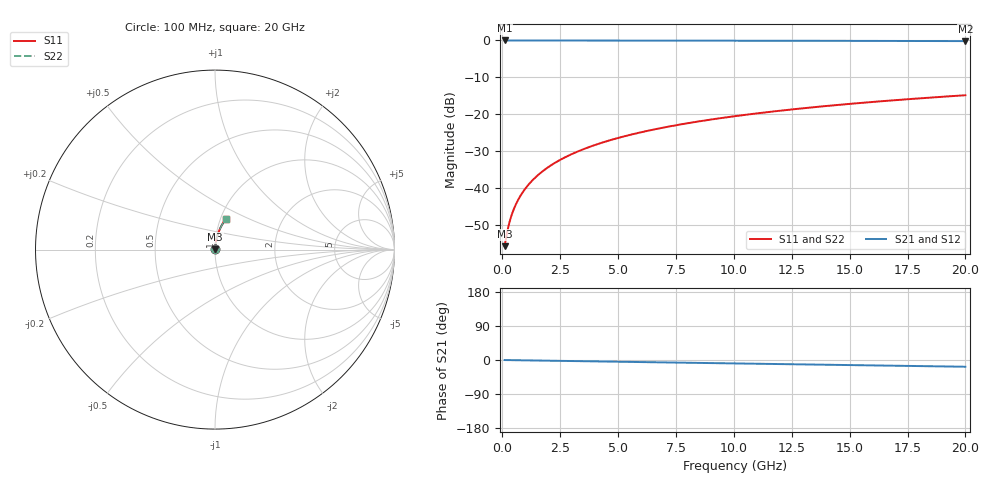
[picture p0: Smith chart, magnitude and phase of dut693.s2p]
! Touchstone file exported from HFSS 2026.1.0
!  File:  C:/ffzhzh/LocalFiles/Ansys_Project_Files/temp_train_TMRDL_693_1783010345_51716.aedt
!  Generated:  12:40:33 AM Jul  3, 2026
!  Design:  TMRDL
!  Project:  temp_train_TMRDL_693_1783010345_51716
! Variables:
!  h_bsmrdl = 2um
!  h_ox = 20um
!  h_rdl = 5um
!  h_sub = 80um
!  h_tmrdl = 3.23um
!  h_tsv = 80um
!  h_via = 3um
!  l_bsmrdl = 300um
!  l_sub = 617.09um
!  l_tmrdl = 217.09um
!  m_sub = 200um
!  pitch = 51.02um
!  r_tsv = 6um
!  s_tmrdl = 10um
!  w_bsmrdl = 18um
!  w_sub = 500um
!  w_tmrdl = 24.24um
!  x_tsv_center1 = 229.21um
!  x_tsv_center2 = 547.21um
!  x_tsv_center3 = 788.54um
!  x_tsv_center4 = 1106.54um
!  x_tsv_center5 = 1347.87um
!  x_tsv_center6 = 1665.87um
# GHz S MA R 50.000000
! Terminal data exported
! Port[1] = TM_RDL1_1_T1
! Port[2] = TM_RDL1_1_T2
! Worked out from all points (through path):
!   200 points, 100 MHz to 20 GHz, reference 50 ohm
!   highest |S21| = -0.01 dB at 100 MHz (marker M1); lowest = -0.2 dB at 20 GHz (marker M2)
!   group delay of S21, straight-line fit = 2.47 ps
!   lowest |S11| = -55.8 dB at 100 MHz (marker M3), VSWR 1.00, Z = 50.1 + j0.105 ohm
!   |S11| at or under -10 dB: start of sweep to end of sweep
!   |S22| runs from -55.8 to -14.9 dB; largest |S21 - S12| = 2.3e-15
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0.1  0.001621 40.1  0.9988 -0.1  0.9988 -0.1  0.001621 40.1
! Gamma 0 0 0 0
! Port Impedance 50 0 50 0
0.2  0.002438 57.8  0.9987 -0.2  0.9987 -0.2  0.002438 57.8
0.3  0.003343 65.8  0.9986 -0.3  0.9986 -0.3  0.003343 65.8
0.4  0.004262 70.3  0.9986 -0.4  0.9986 -0.4  0.004262 70.3
0.5  0.005184 73.2  0.9985 -0.5  0.9985 -0.5  0.005184 73.2
0.6  0.006107 75.3  0.9985 -0.6  0.9985 -0.6  0.006107 75.3
0.8  0.007963 78.1  0.9984 -0.7  0.9984 -0.7  0.007963 78.1
1.1  0.01077 80.5  0.9984 -1.0  0.9984 -1.0  0.01077 80.5
1.3  0.01265 81.5  0.9983 -1.2  0.9983 -1.2  0.01265 81.5
1.6  0.01548 82.4  0.9982 -1.5  0.9982 -1.5  0.01548 82.4
2.1  0.02021 83.2  0.9981 -1.9  0.9981 -1.9  0.02021 83.2
2.7  0.0259 83.5  0.9979 -2.5  0.9979 -2.5  0.0259 83.5
3.5  0.03346 83.5  0.9975 -3.2  0.9975 -3.2  0.03346 83.5
4.2  0.04005 83.2  0.9971 -3.8  0.9971 -3.8  0.04005 83.2
5  0.04756 82.8  0.9966 -4.6  0.9966 -4.6  0.04756 82.8
5.9  0.05595 82.1  0.996 -5.4  0.996 -5.4  0.05595 82.1
6.8  0.06428 81.5  0.9953 -6.2  0.9953 -6.2  0.06428 81.5
8.3  0.07806 80.3  0.994 -7.5  0.994 -7.5  0.07806 80.3
10.1  0.09439 78.8  0.9922 -9.1  0.9922 -9.1  0.09439 78.8
13.4  0.1238 76.1  0.9883 -12.0  0.9883 -12.0  0.1238 76.1
16.7  0.1525 73.4  0.9838 -14.9  0.9838 -14.9  0.1525 73.4
20  0.1805 70.7  0.9787 -17.8  0.9787 -17.8  0.1805 70.6
